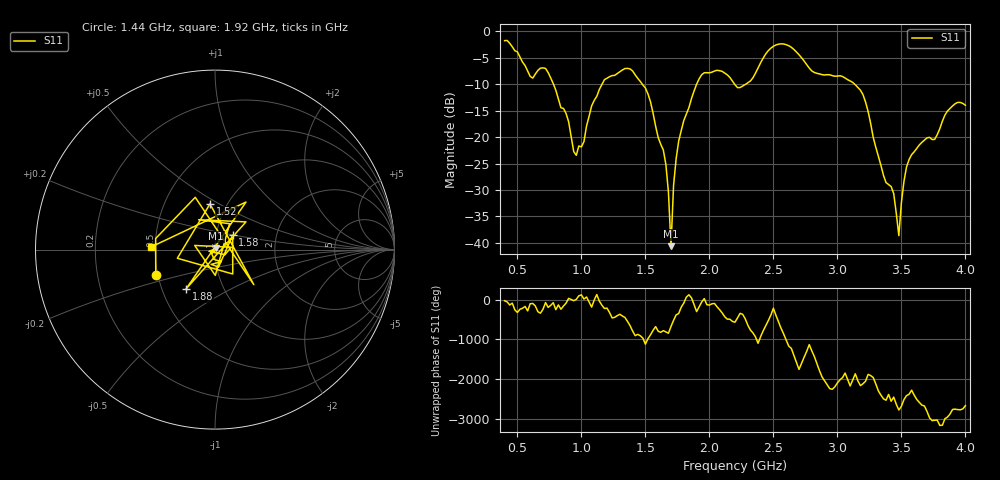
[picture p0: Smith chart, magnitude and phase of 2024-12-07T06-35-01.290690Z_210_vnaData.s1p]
!Created with skrf (http://scikit-rf.org).
# Hz S RI R 50.0
!freq ReS11 ImS11
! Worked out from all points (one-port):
!   181 points, 400 MHz to 4 GHz, reference 50 ohm
!   lowest |S11| = -40.6 dB at 1.7 GHz (marker M1), VSWR 1.02, Z = 50.7 + j0.642 ohm
!   |S11| at or under -10 dB: 782 MHz to 1.161 GHz (379.1 MHz wide, 39 % of centre); 1.476 GHz to 1.9 GHz (424 MHz wide, 25.1 % of centre); 3.135 GHz to end of sweep (the widest 3 of 4)
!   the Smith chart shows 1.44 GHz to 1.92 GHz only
!   S11 on the Smith chart (normalised r, x): 1.44 GHz: 0.49, -0.16; 1.52 GHz: 0.83, +0.45; 1.58 GHz: 1.20, +0.19; 1.88 GHz: 0.66, -0.31; 1.92 GHz: 0.47, +0.02
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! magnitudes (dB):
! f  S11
! 400 MHz  -1.8
! 600 MHz  -8.5
! 720 MHz  -7.0
! 860 MHz  -14.6
! 960 MHz  -23.5
! 1.16 GHz  -10.0
! 1.3 GHz  -7.6
! 1.44 GHz  -8.9
! 1.52 GHz  -11.8
! 1.58 GHz  -18.0
! 1.66 GHz  -25.2
! 1.68 GHz  -30.4
! 1.7 GHz  -40.6
! 1.72 GHz  -29.1
! 1.76 GHz  -20.8
! 1.88 GHz  -11.3
! 1.92 GHz  -9.0
! 2.2 GHz  -10.1
! 2.5 GHz  -2.8
! 2.66 GHz  -3.4
! 3.1 GHz  -9.4
! 3.22 GHz  -13.4
! 3.36 GHz  -27.2
! 3.44 GHz  -30.7
! 3.48 GHz  -38.7
! 3.52 GHz  -28.4
! 3.56 GHz  -24.3
! 4 GHz  -14.0
